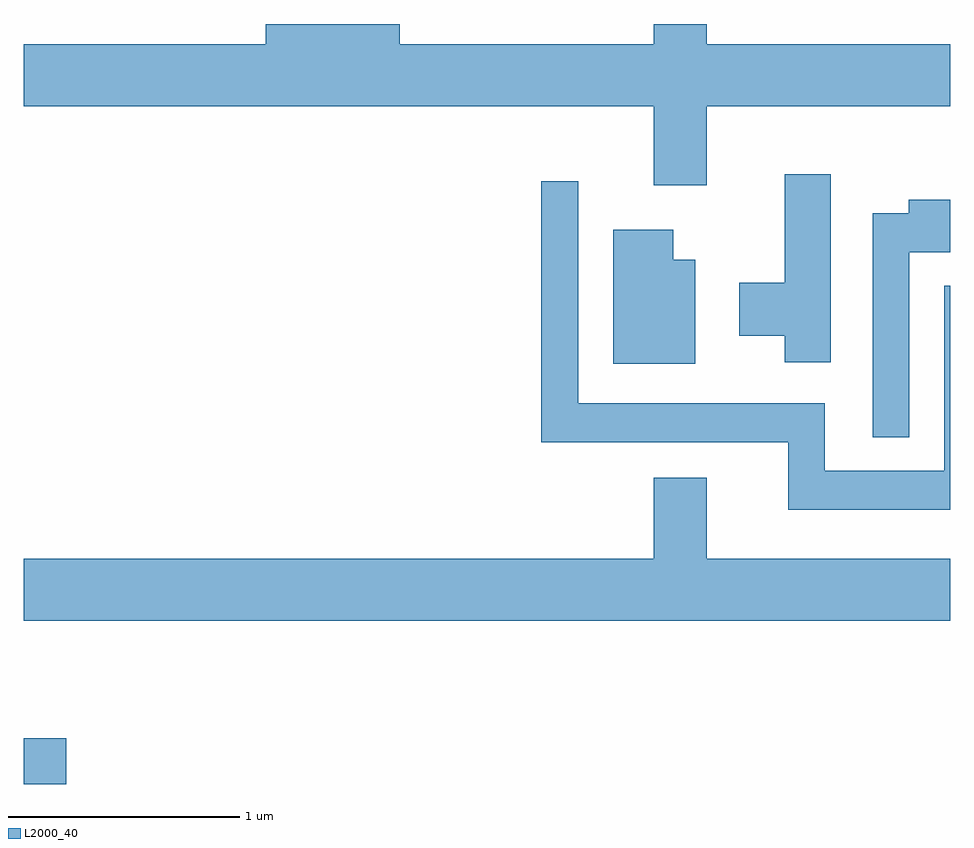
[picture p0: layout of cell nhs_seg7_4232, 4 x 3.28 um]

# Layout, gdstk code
import gdstk
lib = gdstk.Library(unit=1e-6, precision=1e-09)
def R(c, l, rs):  # rectangles x0, y0, x1, y1
    for r in rs: c.add(gdstk.rectangle(r[:2], r[2:], *l))
def P(c, l, *ps):  # polygons
    for p in ps: c.add(gdstk.Polygon(p, *l))
L2000_40 = (2000, 40)

nhs_seg7_4232 = lib.new_cell('nhs_seg7_4232')
R(nhs_seg7_4232, L2000_40, [(315.611,1686.971,315.794,1687.169)])
P(nhs_seg7_4232, L2000_40, [(318.559,1689.896),(319.611,1689.896),(319.611,1690.164),(318.559,1690.164),(318.559,1690.252),(318.331,1690.252),(318.331,1690.164),(317.234,1690.164),(317.234,1690.252),(316.656,1690.252),(316.656,1690.164),(315.611,1690.164),(315.611,1689.896),(318.331,1689.896),(318.331,1689.556),(318.559,1689.556)],
  [(319.094,1689.604),(318.896,1689.604),(318.896,1689.134),(318.701,1689.134),(318.701,1688.906),(318.896,1688.906),(318.896,1688.791),(319.094,1688.791)],
  [(319.611,1689.123),(319.586,1689.123),(319.586,1688.324),(319.069,1688.324),(319.069,1688.614),(318.004,1688.614),(318.004,1689.573),(317.846,1689.573),(317.846,1688.446),(318.911,1688.446),(318.911,1688.156),(319.611,1688.156)],
  [(319.434,1689.266),(319.611,1689.266),(319.611,1689.494),(319.431,1689.494),(319.431,1689.434),(319.276,1689.434),(319.276,1688.468),(319.434,1688.468)],
  [(318.509,1689.234),(318.414,1689.234),(318.414,1689.364),(318.156,1689.364),(318.156,1688.786),(318.509,1688.786)],
  [(319.611,1687.944),(318.559,1687.944),(318.559,1688.294),(318.331,1688.294),(318.331,1687.944),(315.611,1687.944),(315.611,1687.676),(319.611,1687.676)])

lib.write_gds('nhs_seg7_4232.gds')
